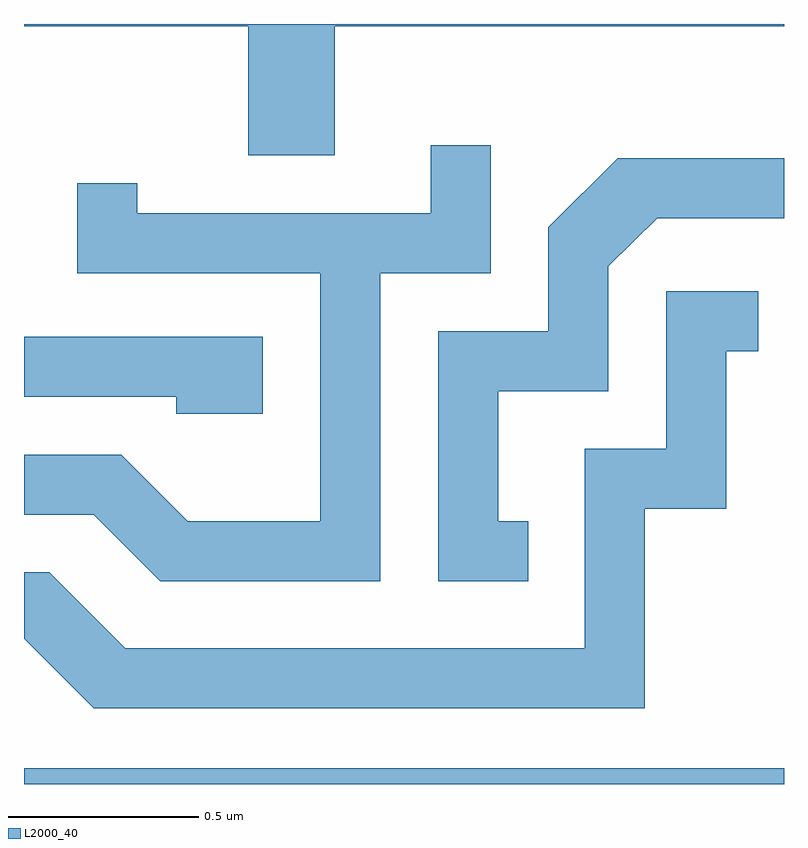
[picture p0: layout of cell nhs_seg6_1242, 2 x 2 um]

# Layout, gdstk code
import gdstk
lib = gdstk.Library(unit=1e-6, precision=1e-09)
def R(c, l, rs):  # rectangles x0, y0, x1, y1
    for r in rs: c.add(gdstk.rectangle(r[:2], r[2:], *l))
def P(c, l, *ps):  # polygons
    for p in ps: c.add(gdstk.Polygon(p, *l))
L2000_40 = (2000, 40)

nhs_seg6_1242 = lib.new_cell('nhs_seg6_1242')
R(nhs_seg6_1242, L2000_40, [(194.611,1539.162,196.611,1539.204)])
P(nhs_seg6_1242, L2000_40, [(195.429,1541.156),(196.611,1541.156),(196.611,1541.162),(194.611,1541.162),(194.611,1541.156),(195.201,1541.156),(195.201,1540.816),(195.429,1540.816)],
  [(195.549,1540.506),(195.839,1540.506),(195.839,1540.843),(195.681,1540.843),(195.681,1540.664),(194.909,1540.664),(194.909,1540.743),(194.751,1540.743),(194.751,1540.506),(195.391,1540.506),(195.391,1539.854),(195.042,1539.854),(194.867,1540.029),(194.611,1540.029),(194.611,1539.871),(194.794,1539.871),(194.969,1539.696),(195.549,1539.696)],
  [(195.938,1539.854),(195.859,1539.854),(195.859,1540.196),(196.149,1540.196),(196.149,1540.524),(196.277,1540.651),(196.611,1540.651),(196.611,1540.809),(196.174,1540.809),(195.991,1540.627),(195.991,1540.354),(195.701,1540.354),(195.701,1539.696),(195.938,1539.696)],
  [(196.244,1539.886),(196.459,1539.886),(196.459,1540.301),(196.543,1540.301),(196.543,1540.459),(196.301,1540.459),(196.301,1540.044),(196.086,1540.044),(196.086,1539.519),(194.877,1539.519),(194.677,1539.719),(194.611,1539.719),(194.611,1539.544),(194.794,1539.361),(196.244,1539.361)],
  [(195.239,1540.339),(194.611,1540.339),(194.611,1540.181),(195.011,1540.181),(195.011,1540.136),(195.239,1540.136)])

lib.write_gds('nhs_seg6_1242.gds')
